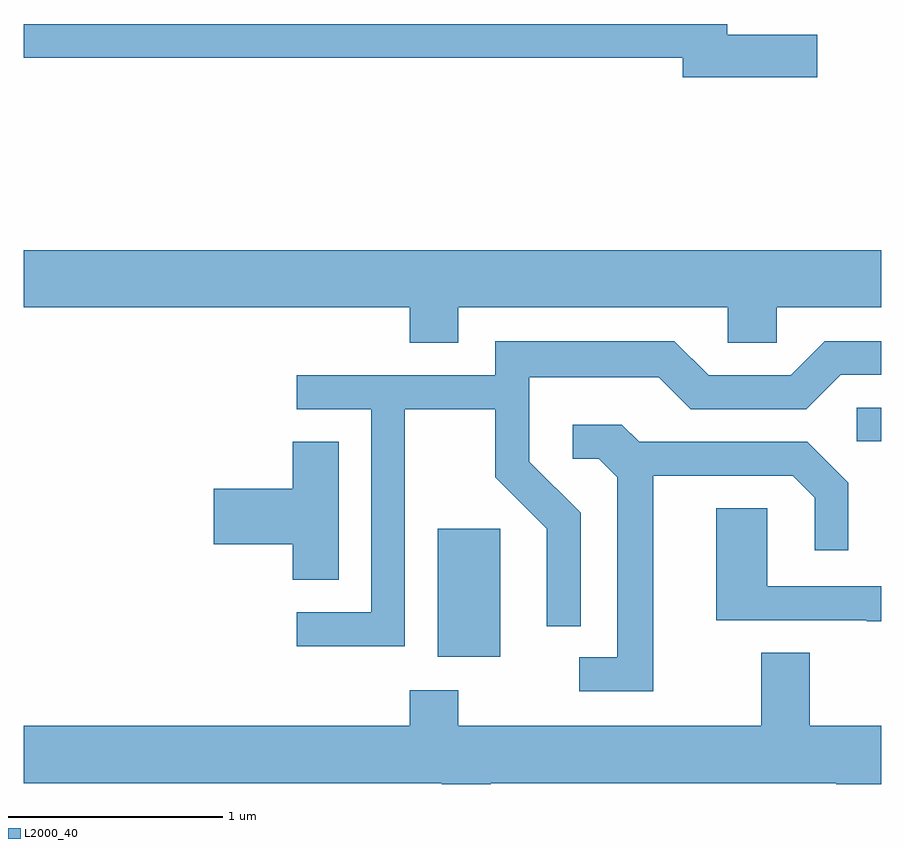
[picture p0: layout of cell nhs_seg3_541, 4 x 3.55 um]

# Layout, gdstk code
import gdstk
lib = gdstk.Library(unit=1e-6, precision=1e-09)
def R(c, l, rs):  # rectangles x0, y0, x1, y1
    for r in rs: c.add(gdstk.rectangle(r[:2], r[2:], *l))
def P(c, l, *ps):  # polygons
    for p in ps: c.add(gdstk.Polygon(p, *l))
L2000_40 = (2000, 40)

nhs_seg3_541 = lib.new_cell('nhs_seg3_541')
R(nhs_seg3_541, L2000_40, [(201.541,1246.486,201.834,1247.084), (203.498,1247.491,203.611,1247.649)])
P(nhs_seg3_541, L2000_40, [(203.314,1249.389),(202.894,1249.389),(202.894,1249.439),(199.611,1249.439),(199.611,1249.281),(202.686,1249.281),(202.686,1249.191),(203.314,1249.191)],
  [(201.639,1248.116),(202.896,1248.116),(202.896,1247.951),(203.124,1247.951),(203.124,1248.116),(203.611,1248.116),(203.611,1248.384),(199.611,1248.384),(199.611,1248.116),(201.411,1248.116),(201.411,1247.951),(201.639,1247.951)],
  [(201.389,1247.641),(201.811,1247.641),(201.811,1247.324),(202.051,1247.084),(202.051,1246.628),(202.209,1246.628),(202.209,1247.157),(201.969,1247.397),(201.969,1247.791),(202.574,1247.791),(202.724,1247.641),(203.262,1247.641),(203.422,1247.801),(203.611,1247.801),(203.611,1247.959),(203.349,1247.959),(203.189,1247.799),(202.807,1247.799),(202.647,1247.959),(201.811,1247.959),(201.811,1247.799),(200.883,1247.799),(200.883,1247.641),(201.231,1247.641),(201.231,1246.694),(200.883,1246.694),(200.883,1246.536),(201.389,1246.536)],
  [(202.549,1247.331),(203.199,1247.331),(203.301,1247.229),(203.301,1246.983),(203.459,1246.983),(203.459,1247.297),(203.267,1247.489),(202.482,1247.489),(202.402,1247.569),(202.173,1247.569),(202.173,1247.411),(202.294,1247.411),(202.381,1247.324),(202.381,1246.484),(202.203,1246.484),(202.203,1246.326),(202.549,1246.326)],
  [(201.079,1247.489),(200.866,1247.489),(200.866,1247.269),(200.496,1247.269),(200.496,1247.011),(200.866,1247.011),(200.866,1246.846),(201.079,1246.846)],
  [(203.611,1246.814),(203.079,1246.814),(203.079,1247.179),(202.841,1247.179),(202.841,1246.656),(203.545,1246.656),(203.545,1246.651),(203.611,1246.651)],
  [(201.789,1245.896),(203.401,1245.896),(203.401,1245.892),(203.611,1245.892),(203.611,1246.164),(203.279,1246.164),(203.279,1246.504),(203.051,1246.504),(203.051,1246.164),(201.639,1246.164),(201.639,1246.329),(201.411,1246.329),(201.411,1246.164),(199.611,1246.164),(199.611,1245.896),(201.561,1245.896),(201.561,1245.892),(201.789,1245.892)])

lib.write_gds('nhs_seg3_541.gds')
